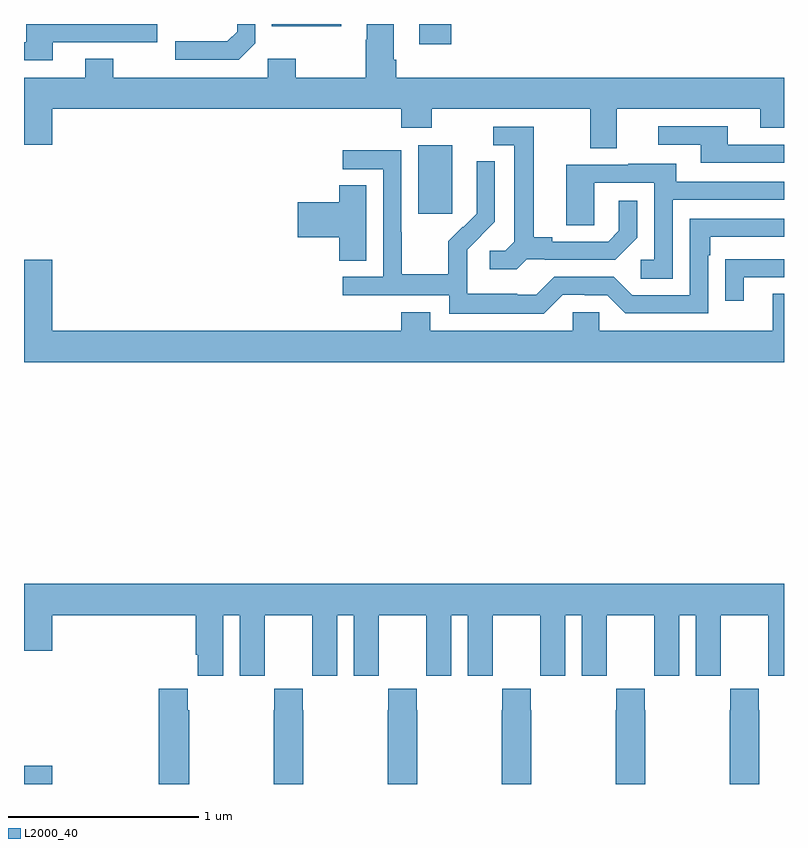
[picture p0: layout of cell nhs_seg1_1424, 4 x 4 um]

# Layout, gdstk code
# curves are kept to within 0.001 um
import gdstk
lib = gdstk.Library(unit=1e-6, precision=1e-09)
def R(c, l, rs):  # rectangles x0, y0, x1, y1
    for r in rs: c.add(gdstk.rectangle(r[:2], r[2:], *l))
def P(c, l, *ps):  # polygons
    for p in ps: c.add(gdstk.Polygon(p, *l))
L2000_40 = (2000, 40)

nhs_seg1_1424 = lib.new_cell('nhs_seg1_1424')
R(nhs_seg1_1424, L2000_40, [(189,528.199,189.148,528.295), (191.075,531.201,191.254,531.562), (191.081,532.092,191.249,532.199), (190.303,532.187,190.67,532.199)])
P(nhs_seg1_1424, L2000_40, [(192.121,531.752),(192.875,531.752),(192.875,531.653),(193,531.653),(193,531.916),(190.958,531.916),(190.958,532.012),(190.945,532.012),(190.945,532.199),(190.805,532.199),(190.805,532.115),(190.798,532.115),(190.798,531.916),(190.431,531.916),(190.431,532.015),(190.284,532.015),(190.284,531.916),(189.471,531.916),(189.471,532.015),(189.323,532.015),(189.323,531.916),(189,531.916),(189,531.564),(189.148,531.564),(189.148,531.752),(190.985,531.752),(190.985,531.653),(191.145,531.653),(191.145,531.752),(191.981,531.752),(191.981,531.544),(192.121,531.544)],
  [(189.151,532.104),(189.702,532.104),(189.702,532.199),(189.011,532.199),(189.011,532.104),(189,532.104),(189,532.008),(189.151,532.008)],
  [(190.218,532.098),(190.218,532.199),(190.122,532.199),(190.122,532.158),(190.071,532.107),(189.795,532.107),(189.795,532.011),(190.131,532.011)],
  [(193,531.564),(192.703,531.564),(192.703,531.66),(192.339,531.66),(192.339,531.564),(192.563,531.564),(192.563,531.468),(193,531.468)],
  [(191.646,530.961),(191.74,530.961),(191.74,530.958),(192.112,530.958),(192.228,531.074),(192.228,531.268),(192.131,531.268),(192.131,531.111),(192.074,531.054),(191.779,531.054),(191.779,531.077),(191.683,531.077),(191.683,531.657),(191.469,531.657),(191.469,531.561),(191.579,531.561),(191.579,531.053),(191.532,531.006),(191.451,531.006),(191.451,530.909),(191.594,530.909)],
  [(191.835,530.775),(191.951,530.775),(191.951,530.772),(192.069,530.772),(192.165,530.676),(192.6,530.676),(192.6,530.981),(192.613,530.981),(192.613,531.078),(193,531.078),(193,531.174),(192.504,531.174),(192.504,530.772),(192.201,530.772),(192.105,530.868),(191.79,530.868),(191.697,530.775),(191.597,530.775),(191.597,530.779),(191.334,530.779),(191.334,530.913),(191.332,530.913),(191.332,531.01),(191.478,531.158),(191.478,531.476),(191.382,531.476),(191.382,531.322),(191.384,531.322),(191.384,531.2),(191.313,531.129),(191.31,531.132),(191.233,531.055),(191.233,530.881),(190.989,530.881),(190.989,531.104),(190.986,531.104),(190.986,531.534),(190.677,531.534),(190.677,531.435),(190.89,531.435),(190.89,530.868),(190.677,530.868),(190.677,530.772),(191.238,530.772),(191.238,530.675),(191.735,530.675)],
  [(192.414,531.273),(193,531.273),(193,531.369),(192.433,531.369),(192.433,531.463),(192.179,531.463),(192.179,531.459),(191.855,531.459),(191.855,531.139),(192,531.139),(192,531.363),(192.318,531.363),(192.318,530.958),(192.246,530.958),(192.246,530.857),(192.414,530.857)],
  [(190.801,531.35),(190.658,531.35),(190.658,531.26),(190.44,531.26),(190.44,531.077),(190.658,531.077),(190.658,530.953),(190.801,530.953)],
  [(192.787,530.865),(193,530.865),(193,530.961),(192.793,530.961),(192.793,530.96),(192.691,530.96),(192.691,530.742),(192.787,530.742)],
  [(193,530.779),(192.941,530.779),(192.941,530.584),(192.027,530.584),(192.027,530.682),(191.889,530.682),(191.889,530.584),(191.137,530.584),(191.137,530.683),(190.985,530.683),(190.985,530.584),(189.148,530.584),(189.148,530.959),(189,530.959),(189,530.42),(193,530.42)],
  [(190.048,529.088),(190.136,529.088),(190.136,528.768),(190.266,528.768),(190.266,528.88),(190.267,528.88),(190.267,529.088),(190.517,529.088),(190.517,528.88),(190.518,528.88),(190.518,528.768),(190.648,528.768),(190.648,529.088),(190.736,529.088),(190.736,528.768),(190.866,528.768),(190.866,528.88),(190.867,528.88),(190.867,529.088),(191.117,529.088),(191.117,528.88),(191.118,528.88),(191.118,528.768),(191.248,528.768),(191.248,529.088),(191.336,529.088),(191.336,528.768),(191.466,528.768),(191.466,528.88),(191.467,528.88),(191.467,529.088),(191.717,529.088),(191.717,528.88),(191.718,528.88),(191.718,528.768),(191.848,528.768),(191.848,529.088),(191.936,529.088),(191.936,528.768),(192.066,528.768),(192.066,528.88),(192.067,528.88),(192.067,529.088),(192.317,529.088),(192.317,528.88),(192.318,528.88),(192.318,528.768),(192.448,528.768),(192.448,529.088),(192.536,529.088),(192.536,528.768),(192.666,528.768),(192.666,528.88),(192.667,528.88),(192.667,529.088),(192.917,529.088),(192.917,528.88),(192.918,528.88),(192.918,528.768),(193,528.768),(193,529.252),(189,529.252),(189,528.9),(189.148,528.9),(189.148,529.088),(189.905,529.088),(189.905,528.88),(189.914,528.88),(189.914,528.768),(190.048,528.768)],
  [(192.87,528.587),(192.867,528.587),(192.867,528.7),(192.717,528.7),(192.717,528.587),(192.715,528.587),(192.715,528.199),(192.87,528.199)],
  [(191.07,528.587),(191.067,528.587),(191.067,528.7),(190.917,528.7),(190.917,528.587),(190.915,528.587),(190.915,528.199),(191.07,528.199)],
  [(190.47,528.587),(190.467,528.587),(190.467,528.7),(190.317,528.7),(190.317,528.587),(190.315,528.587),(190.315,528.199),(190.47,528.199)],
  [(189.87,528.587),(189.863,528.587),(189.863,528.7),(189.71,528.7),(189.71,528.199),(189.87,528.199)],
  [(191.67,528.587),(191.667,528.587),(191.667,528.7),(191.517,528.7),(191.517,528.587),(191.515,528.587),(191.515,528.199),(191.67,528.199)],
  [(192.27,528.587),(192.267,528.587),(192.267,528.7),(192.117,528.7),(192.117,528.587),(192.115,528.587),(192.115,528.199),(192.27,528.199)])

lib.write_gds('nhs_seg1_1424.gds')
